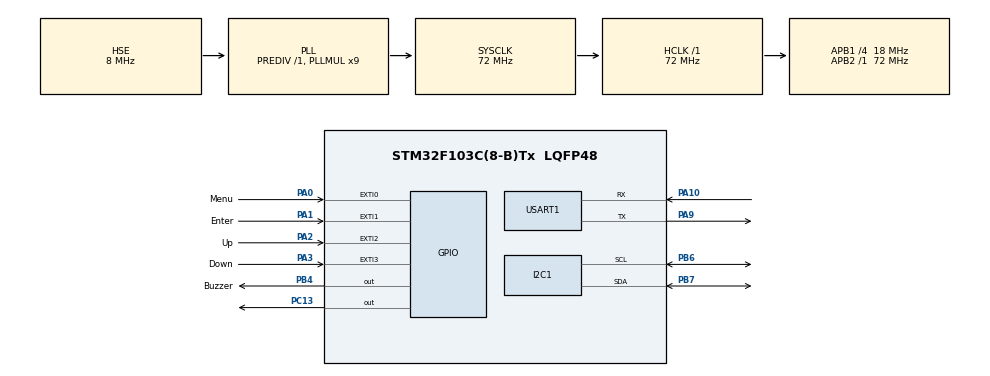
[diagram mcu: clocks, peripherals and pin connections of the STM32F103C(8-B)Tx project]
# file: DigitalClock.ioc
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Mcu.Family=STM32F1
Mcu.Name=STM32F103C(8-B)Tx
Mcu.Package=LQFP48
NVIC.EXTI0_IRQn=true\:3\:0\:true\:false\:true\:true\:true
NVIC.EXTI1_IRQn=true\:2\:0\:true\:false\:true\:true\:true
NVIC.EXTI2_IRQn=true\:1\:0\:true\:false\:true\:true\:true
NVIC.EXTI3_IRQn=true\:1\:0\:true\:false\:true\:true\:true
NVIC.PriorityGroup=NVIC_PRIORITYGROUP_4
NVIC.TIM2_IRQn=true\:4\:0\:true\:false\:true\:true\:true
NVIC.USART1_IRQn=true\:0\:0\:false\:false\:true\:true\:true
PA0-WKUP.GPIO_Label=Menu
PA0-WKUP.GPIO_ModeDefaultEXTI=GPIO_MODE_IT_FALLING
PA0-WKUP.GPIO_PuPd=GPIO_PULLUP
PA0-WKUP.Signal=GPXTI0
PA1.GPIO_Label=Enter
PA1.GPIO_ModeDefaultEXTI=GPIO_MODE_IT_FALLING
PA1.GPIO_PuPd=GPIO_PULLUP
PA1.Signal=GPXTI1
PA10.Mode=Asynchronous
PA10.Signal=USART1_RX
PA2.GPIO_Label=Up
PA2.GPIO_ModeDefaultEXTI=GPIO_MODE_IT_FALLING
PA2.GPIO_PuPd=GPIO_PULLUP
PA2.Signal=GPXTI2
PA3.GPIO_Label=Down
PA3.GPIO_ModeDefaultEXTI=GPIO_MODE_IT_FALLING
PA3.GPIO_PuPd=GPIO_PULLUP
PA3.Signal=GPXTI3
PA9.Mode=Asynchronous
PA9.Signal=USART1_TX
PB4.GPIO_Label=Buzzer
PB4.GPIO_PuPd=GPIO_PULLDOWN
PB4.GPIO_Speed=GPIO_SPEED_FREQ_LOW
PB4.PinState=GPIO_PIN_RESET
PB4.Signal=GPIO_Output
PB6.Mode=I2C
PB6.Signal=I2C1_SCL
PB7.Mode=I2C
PB7.Signal=I2C1_SDA
PC13-TAMPER-RTC.Signal=GPIO_Output
PD0-OSC_IN.Mode=HSE-External-Oscillator
PD0-OSC_IN.Signal=RCC_OSC_IN
PD1-OSC_OUT.Mode=HSE-External-Oscillator
PD1-OSC_OUT.Signal=RCC_OSC_OUT
ProjectManager.HeapSize=0x200
ProjectManager.StackSize=0x400
ProjectManager.TargetToolchain=MDK-ARM V5
RCC.AHBFreq_Value=72000000
RCC.APB1CLKDivider=RCC_HCLK_DIV4
RCC.APB1Freq_Value=18000000
RCC.APB1TimFreq_Value=36000000
RCC.APB2Freq_Value=72000000
RCC.APB2TimFreq_Value=72000000
RCC.HCLKFreq_Value=72000000
RCC.PLLMUL=RCC_PLL_MUL9
RCC.PLLSourceVirtual=RCC_PLLSOURCE_HSE
RCC.SYSCLKFreq_VALUE=72000000
RCC.SYSCLKSource=RCC_SYSCLKSOURCE_PLLCLK
RCC.USBFreq_Value=72000000
TIM2.AutoReloadPreload=TIM_AUTORELOAD_PRELOAD_ENABLE
TIM2.Period=999
TIM2.Prescaler=36000-1
USART1.VirtualMode=VM_ASYNC
VP_SYS_VS_ND.Mode=No_Debug
VP_TIM2_VS_ClockSourceINT.Mode=Internal
board=custom

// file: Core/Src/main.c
/* USER CODE BEGIN Header */
/**
  ******************************************************************************
  * @file           : main.c
  * @brief          : Main program body
  ******************************************************************************
  * @attention
  *
  * <h2><center>&copy; Copyright (c) 2020 STMicroelectronics.
  * All rights reserved.</center></h2>
  *
  * This software component is licensed by ST under BSD 3-Clause license,
  * the "License"; You may not use this file except in compliance with the
  * License. You may obtain a copy of the License at:
  *                        opensource.org/licenses/BSD-3-Clause
  *
  ******************************************************************************
  */
/* USER CODE END Header */
#include "main.h"

/* USER CODE BEGIN Includes */
#include "CLCD_I2C.h"
#include "DS3231.h"
/* USER CODE END Includes */

/* USER CODE BEGIN PTD */
enum
{
	ModeIdle = 0,
	ModeSetAlarm,
	ModeSetTime,
	ModeChangeDisplay,
	ModeAlarm,
	ModeAdjustAlarm,
	ModeAdjustTime
}ModeEnum;
uint8_t Mode = ModeIdle;

enum
{
	Mode24h = 0,
	Mode12h
}ModeDisplayEnum;
uint8_t ModeDisplay = Mode24h;

enum
{
	AdjustHour = 0,
	AdjustMin,
	AdjustSec,
	AdjustDate,
	AdjustMonth,
	AdjustYear,
}AdjustEnum;
uint8_t Adjust = -1;

uint8_t alarm_flag = 0;// flag check status alarm

uint8_t AlarmHours;
uint8_t AlarmMin;
uint8_t AlarmDate;

uint8_t device;
DS3231_Name DS3231;
CLCD_I2C_Name LCD1;

/* USER CODE END PTD */

I2C_HandleTypeDef hi2c1;

TIM_HandleTypeDef htim2;

UART_HandleTypeDef huart1;

void SystemClock_Config(void);
static void MX_GPIO_Init(void);
static void MX_TIM2_Init(void);
static void MX_I2C1_Init(void);
static void MX_USART1_UART_Init(void);
/* USER CODE BEGIN PFP */
void MonthPrint(uint8_t Month, char bufferm [16])
{
	switch (Month){
		case (1):
			sprintf(bufferm, "January");
		break;
		case (2):
			sprintf(bufferm, "Febnuary");
		break;
	  case (3):
			sprintf(bufferm, "March");
		break;
	  case (4):
			sprintf(bufferm, "April");
		break;
	  case (5):
			sprintf(bufferm, "May");
		break;
	  case (6):
			sprintf(bufferm, "June");
		break;
	  case (7):
			sprintf(bufferm, "July");
		break;
	  case (8):
			sprintf(bufferm, "August");
		break;
	  case (9):
			sprintf(bufferm, "September");
		break;
	  case (10):
			sprintf(bufferm, "October");
		break;
	  case (11):
			sprintf(bufferm, "November");
		break;
	  case (12):
			sprintf(bufferm, "December");
		break;
	}
}

void Display_SetAlarm()
{
	CLCD_I2C_Clear(&LCD1);
	CLCD_I2C_SetCursor(&LCD1, 0, 0);
	CLCD_I2C_WriteString(&LCD1,"Set Alarm");
}

void Display_SetTime()
{
	CLCD_I2C_Clear(&LCD1);
	CLCD_I2C_SetCursor(&LCD1, 0, 0);
	CLCD_I2C_WriteString(&LCD1,"Set Time");
}

void Display_Time()
{
	char buffer[16];
	switch(ModeDisplay){
		case(Mode24h):
			DS3231_GetTime(&DS3231);
		sprintf(buffer, "%02d:%02d:%02d", DS3231.Hours, DS3231.Min, DS3231.Sec);
		CLCD_I2C_SetCursor(&LCD1, 0, 0);
		CLCD_I2C_WriteString(&LCD1, buffer);
		break;
		case(Mode12h):
			DS3231_GetTime(&DS3231);
		if(DS3231.Hours < 12){
			sprintf(buffer, "%02d:%02d:%02d AM", DS3231.Hours, DS3231.Min, DS3231.Sec);
		}
		else if(DS3231.Hours == 12){
			sprintf(buffer, "%02d:%02d:%02d PM", DS3231.Hours, DS3231.Min, DS3231.Sec);
		}
		else if(DS3231.Hours > 12){
			sprintf(buffer, "%02d:%02d:%02d PM", DS3231.Hours - 12, DS3231.Min, DS3231.Sec);
		}
		else if(DS3231.Hours == 24){
			sprintf(buffer, "%02d:%02d:%02d AM", DS3231.Hours - 12, DS3231.Min, DS3231.Sec);
		}
	CLCD_I2C_SetCursor(&LCD1, 0, 0);
	CLCD_I2C_WriteString(&LCD1, buffer);
	}
}

void Display_Date()
{
	char buffer[16], bufferm[16];
	DS3231_GetDate(&DS3231);
	MonthPrint(DS3231.Month, bufferm);
	sprintf(buffer, "%02d,%s,20%02d", DS3231.Date, bufferm, DS3231.Year);
	CLCD_I2C_SetCursor(&LCD1, 0, 1);
	CLCD_I2C_WriteString(&LCD1, buffer);
}

void Display_Temp()
{
	char buffer[16];
	uint8_t Temp;
	Temp = (int)DS3231_GetTemp(&DS3231);
	CLCD_I2C_SetCursor(&LCD1, 12, 0);
	sprintf(buffer, "%02d", Temp);
	CLCD_I2C_WriteString(&LCD1, buffer);
  CLCD_I2C_WriteChar(&LCD1, 223);
	CLCD_I2C_WriteChar(&LCD1, 67);
}

void Display_AlarmMode()
{
	char buffer[16];
	CLCD_I2C_SetCursor(&LCD1,0,0);
	sprintf(buffer, "Time %02d:%02d", AlarmHours, AlarmMin);
	CLCD_I2C_WriteString(&LCD1, buffer);
	CLCD_I2C_SetCursor(&LCD1,0,1);
	sprintf(buffer, "Date %02d", AlarmDate);
	CLCD_I2C_WriteString(&LCD1, buffer);
}

void Display_TimeMode()
{
	char buffer[16];
	CLCD_I2C_SetCursor(&LCD1,0,0);
	sprintf(buffer, "Time %02d:%02d:%02d", DS3231.Hours, DS3231.Min, DS3231.Sec);
	CLCD_I2C_WriteString(&LCD1, buffer);
	CLCD_I2C_SetCursor(&LCD1,0,1);
	sprintf(buffer, "Date %02d-%02d-%02d", DS3231.Date, DS3231.Month, DS3231.Year);
	CLCD_I2C_WriteString(&LCD1, buffer);
}

void Display_ChangeDisplay()
{
	CLCD_I2C_Clear(&LCD1);
	CLCD_I2C_SetCursor(&LCD1, 0, 0);
	CLCD_I2C_WriteString(&LCD1,"Change Display");
}

void Display_Adjust()
{
	switch(Adjust)
	{
		case AdjustHour:
			CLCD_I2C_SetCursor(&LCD1, 5, 0);
			break;
		case AdjustMin:
			CLCD_I2C_SetCursor(&LCD1, 8, 0);
			break;
		case AdjustSec:
			CLCD_I2C_SetCursor(&LCD1, 11, 0);
			break;
		case AdjustDate:
			CLCD_I2C_SetCursor(&LCD1, 5, 1);
			break;
			case AdjustMonth:
			CLCD_I2C_SetCursor(&LCD1, 8, 1);
			break;
		case AdjustYear:
			CLCD_I2C_SetCursor(&LCD1, 11, 1);
			break;
	}
}

void Display_Alarm()
{
	char buffer[16];
	CLCD_I2C_SetCursor(&LCD1,5,0);
	CLCD_I2C_WriteString(&LCD1, "Alarm");
	CLCD_I2C_SetCursor(&LCD1,5,1);
	sprintf(buffer, "%02d:%02d", DS3231.Hours, DS3231.Min);
	CLCD_I2C_WriteString(&LCD1, buffer);
}

void HAL_GPIO_EXTI_Callback(uint16_t GPIO_Pin)
{
  /* Prevent unused argument(s) compilation warning */
  UNUSED(GPIO_Pin);

	if(GPIO_Pin == Menu_Pin)
	{
		switch(Mode)
		{
			case ModeIdle:
		    Mode = ModeSetAlarm;
			  Display_SetAlarm();
			break;
			case ModeSetAlarm:
			  Mode = ModeSetTime;
				Display_SetTime();
			break;
			case ModeSetTime:
				Mode = ModeChangeDisplay;
			  Display_ChangeDisplay();
			break;
			case ModeChangeDisplay:
				Mode = ModeIdle;
			CLCD_I2C_Clear(&LCD1);
			break;
			case ModeAdjustAlarm:
				CLCD_I2C_BlinkOff(&LCD1);
					Mode = ModeIdle;
			CLCD_I2C_Clear(&LCD1);
			break;
			case ModeAdjustTime:
			CLCD_I2C_BlinkOff(&LCD1);
			DS3231_SetTime(&DS3231, DS3231.Hours, DS3231.Min, DS3231.Sec);
			DS3231_SetDate(&DS3231, DS3231.Day, DS3231.Date, DS3231.Month, DS3231.Year);
				Mode = ModeIdle;
			CLCD_I2C_Clear(&LCD1);
			Display_Time();
			Display_Temp();
			Display_Date();
			break;
		}
	}
	if(GPIO_Pin == Enter_Pin)
	{
		switch(Mode)
		{
			case ModeSetAlarm:
			Mode = ModeAdjustAlarm;
			CLCD_I2C_Clear(&LCD1);
			Display_AlarmMode();
			Adjust = AdjustHour;
	    CLCD_I2C_BlinkOn(&LCD1);
			Display_Adjust();
			break;
			case ModeSetTime:
			Mode = ModeAdjustTime;
			CLCD_I2C_Clear(&LCD1);
			Display_TimeMode();
			Adjust = AdjustHour;
	    CLCD_I2C_BlinkOn(&LCD1);
			Display_Adjust();
			break;
			case ModeChangeDisplay:
			if (ModeDisplay == Mode24h)
				ModeDisplay = Mode12h;
			else
				ModeDisplay = Mode24h;
			Mode = ModeIdle;
			CLCD_I2C_Clear(&LCD1);
			break;
			case ModeAdjustAlarm:
			switch(Adjust)
			{
				case AdjustHour:
					Adjust = AdjustMin;
				break;
				case AdjustMin:
					Adjust = AdjustDate;
				break;
				case AdjustDate:
					Adjust = AdjustHour;
				break;
			}
			Display_Adjust();
			break;
			case ModeAdjustTime:
			if (Adjust == AdjustYear)
			Adjust = -1;
			Adjust++;
			Display_Adjust();
			break;
			case ModeAlarm:
				alarm_flag = 1;
			break;
		}
	}
	if(GPIO_Pin == Up_Pin)
	{
		if(Mode == ModeAdjustAlarm){
		switch(Adjust)
		{
			case AdjustHour:
				if(AlarmHours < 23)
					AlarmHours += 1;
				else AlarmHours = 0;

			Display_AlarmMode();
			Adjust = AdjustHour;
			Display_Adjust();
			break;

			case AdjustMin:
				if(AlarmMin < 59)
					AlarmMin += 1;
				else AlarmMin = 0;

			Display_AlarmMode();
			Adjust = AdjustMin;
			Display_Adjust();
			break;

			case AdjustDate:
				if(AlarmDate < 31)
					AlarmDate += 1;
				else AlarmDate = 1;

			Display_AlarmMode();
			Adjust = AdjustDate;
			Display_Adjust();
			break;
		}
	}
		if(Mode == ModeAdjustTime){
		switch(Adjust)
		{
			case AdjustHour:
				if(DS3231.Hours < 23)
					DS3231.Hours += 1;
				else DS3231.Hours = 0;

				Display_TimeMode();
			  Adjust = AdjustHour;
				Display_Adjust();
				break;

			case AdjustMin:
				if(DS3231.Min < 59)
					DS3231.Min += 1;
				else DS3231.Min = 0;

				Display_TimeMode();
				Adjust = AdjustMin;
				Display_Adjust();
				break;

			case AdjustSec:
				if(DS3231.Sec < 59)
					DS3231.Sec += 1;
				else DS3231.Sec = 0;

			Display_TimeMode();
			Adjust = AdjustSec;
				Display_Adjust();
				break;

			case AdjustYear:
			if (DS3231.Year < 99)
			DS3231.Year += 1;
			else
			DS3231.Year = 0;

			Display_TimeMode();
			Adjust = AdjustYear;
				Display_Adjust();
				break;

			case AdjustMonth:
				if(DS3231.Month < 12)
					DS3231.Month += 1;
				else DS3231.Month = 1;

			Display_TimeMode();
			Adjust = AdjustMonth;
				Display_Adjust();
				break;

			case AdjustDate:
				if(DS3231.Date < 31)
					DS3231.Date += 1;
				else DS3231.Date = 1;

		  Display_TimeMode();
			Adjust = AdjustDate;
				Display_Adjust();
				break;
		}
	}
}
	if(GPIO_Pin == Down_Pin)
	{
		if(Mode == ModeAdjustAlarm){
		switch(Adjust)
		{
			case AdjustHour:
				if(AlarmHours > 0)
					AlarmHours -= 1;
				else AlarmHours = 23;

			Display_AlarmMode();
			Adjust = AdjustHour;
				Display_Adjust();
				break;

			case AdjustMin:
				if(AlarmMin > 0)
					AlarmMin -= 1;
				else AlarmMin = 59;

			Display_AlarmMode();
			Adjust = AdjustMin;
				Display_Adjust();
				break;

			case AdjustDate:
				if(AlarmDate > 1)
					AlarmDate -= 1;
				else AlarmDate = 31;

			Display_AlarmMode();
			Adjust = AdjustDate;
				Display_Adjust();
				break;
		}
	}
		if(Mode == ModeAdjustTime){
		switch(Adjust)
		{
			case AdjustHour:
				if( DS3231.Hours > 0)
					DS3231.Hours -= 1;
				else DS3231.Hours = 23;

			Display_TimeMode();
			Adjust = AdjustHour;
				Display_Adjust();
				break;

			case AdjustMin:
				if(DS3231.Min > 0)
					DS3231.Min -= 1;
				else DS3231.Min = 59;

			Display_TimeMode();
			Adjust = AdjustMin;
				Display_Adjust();
				break;

			case AdjustSec:
				if(DS3231.Sec > 0)
					DS3231.Sec -= 1;
				else DS3231.Sec = 59;

			Display_TimeMode();
			Adjust = AdjustSec;
				Display_Adjust();
				break;

			case AdjustYear:
			if(DS3231.Year > 0)
			DS3231.Year -= 1;
			else
				DS3231.Year = 99;

			Display_TimeMode();
			Adjust = AdjustYear;
				Display_Adjust();
				break;

			case AdjustMonth:
				if(DS3231.Month > 1)
					DS3231.Month -= 1;
				else DS3231.Month = 12;

			Display_TimeMode();
			Adjust = AdjustMonth;
				Display_Adjust();
				break;

			case AdjustDate:
				if(DS3231.Date > 1)
					DS3231.Date -= 1;
				else DS3231.Date = 31;

			Display_TimeMode();
			Adjust = AdjustDate;
				Display_Adjust();
				break;
			}
		}
	}
}
void AlarmTone(uint32_t Delay)
{
  uint32_t tickstart = HAL_GetTick();
  uint32_t wait = Delay;

  if (wait < HAL_MAX_DELAY)
  {
    wait += (uint32_t)(uwTickFreq);
  }

  while ((HAL_GetTick() - tickstart) < wait)
  {
		if(alarm_flag){
			alarm_flag = 0;
			break;
		}
		HAL_GPIO_WritePin(Buzzer_GPIO_Port, Buzzer_Pin, 1);
		HAL_Delay(150);
		HAL_GPIO_WritePin(Buzzer_GPIO_Port, Buzzer_Pin, 0);
		HAL_Delay(70);
		HAL_GPIO_WritePin(Buzzer_GPIO_Port, Buzzer_Pin, 1);
		HAL_Delay(150);
		HAL_GPIO_WritePin(Buzzer_GPIO_Port, Buzzer_Pin, 0);
		HAL_Delay(500);
  }
}
void HAL_TIM_PeriodElapsedCallback(TIM_HandleTypeDef *htim)/*Ham timer ngat*/
{
  UNUSED(htim);
	if(Mode == ModeIdle)
	{
		Display_Time();
		Display_Temp();
		Display_Date();
		if (DS3231.Hours == AlarmHours && DS3231.Min == AlarmMin && DS3231.Sec == 0 && DS3231.Date == AlarmDate)
			{
			  Mode = ModeAlarm;
				CLCD_I2C_Clear(&LCD1);
				Display_Alarm();
				AlarmTone(5000);
			  Mode = ModeIdle;
				CLCD_I2C_Clear(&LCD1);
			}
	}
}

/* USER CODE END PFP */

int main(void)
{
	__disable_irq();

  /* MCU Configuration--------------------------------------------------------*/

  /* Reset of all peripherals, Initializes the Flash interface and the Systick. */
  HAL_Init();

  /* Configure the system clock */
  SystemClock_Config();

  /* Initialize all configured peripherals */
  MX_GPIO_Init();
  MX_TIM2_Init();
  MX_I2C1_Init();
  MX_USART1_UART_Init();
  /* USER CODE BEGIN 2 */

	for(int i = 0; i<255; i++)
	{
		if(HAL_I2C_IsDeviceReady(&hi2c1,i,1,100) == HAL_OK)
		{
			device = i;
		}
	}

	DS3231_Init(&DS3231, &hi2c1);
	CLCD_I2C_Init(&LCD1,&hi2c1,0x4E,16,2);
	__enable_irq();
	HAL_TIM_Base_Start_IT(&htim2);

  /* USER CODE END 2 */

  /* Infinite loop */
  while (1)
  {

  }
}

void SystemClock_Config(void)
{
  RCC_OscInitTypeDef RCC_OscInitStruct = {0};
  RCC_ClkInitTypeDef RCC_ClkInitStruct = {0};

  /** Initializes the RCC Oscillators according to the specified parameters
  * in the RCC_OscInitTypeDef structure.
  */
  RCC_OscInitStruct.OscillatorType = RCC_OSCILLATORTYPE_HSE;
  RCC_OscInitStruct.HSEState = RCC_HSE_ON;
  RCC_OscInitStruct.HSEPredivValue = RCC_HSE_PREDIV_DIV1;
  RCC_OscInitStruct.HSIState = RCC_HSI_ON;
  RCC_OscInitStruct.PLL.PLLState = RCC_PLL_ON;
  RCC_OscInitStruct.PLL.PLLSource = RCC_PLLSOURCE_HSE;
  RCC_OscInitStruct.PLL.PLLMUL = RCC_PLL_MUL9;
  if (HAL_RCC_OscConfig(&RCC_OscInitStruct) != HAL_OK)
  {
    Error_Handler();
  }
  /** Initializes the CPU, AHB and APB buses clocks
  */
  RCC_ClkInitStruct.ClockType = RCC_CLOCKTYPE_HCLK|RCC_CLOCKTYPE_SYSCLK
                              |RCC_CLOCKTYPE_PCLK1|RCC_CLOCKTYPE_PCLK2;
  RCC_ClkInitStruct.SYSCLKSource = RCC_SYSCLKSOURCE_PLLCLK;
  RCC_ClkInitStruct.AHBCLKDivider = RCC_SYSCLK_DIV1;
  RCC_ClkInitStruct.APB1CLKDivider = RCC_HCLK_DIV4;
  RCC_ClkInitStruct.APB2CLKDivider = RCC_HCLK_DIV1;

  if (HAL_RCC_ClockConfig(&RCC_ClkInitStruct, FLASH_LATENCY_2) != HAL_OK)
  {
    Error_Handler();
  }
}

static void MX_I2C1_Init(void)
{

  hi2c1.Instance = I2C1;
  hi2c1.Init.ClockSpeed = 100000;
  hi2c1.Init.DutyCycle = I2C_DUTYCYCLE_2;
  hi2c1.Init.OwnAddress1 = 0;
  hi2c1.Init.AddressingMode = I2C_ADDRESSINGMODE_7BIT;
  hi2c1.Init.DualAddressMode = I2C_DUALADDRESS_DISABLE;
  hi2c1.Init.OwnAddress2 = 0;
  hi2c1.Init.GeneralCallMode = I2C_GENERALCALL_DISABLE;
  hi2c1.Init.NoStretchMode = I2C_NOSTRETCH_DISABLE;
  if (HAL_I2C_Init(&hi2c1) != HAL_OK)
  {
    Error_Handler();
  }

}

static void MX_TIM2_Init(void)
{

  TIM_ClockConfigTypeDef sClockSourceConfig = {0};
  TIM_MasterConfigTypeDef sMasterConfig = {0};

  htim2.Instance = TIM2;
  htim2.Init.Prescaler = 36000-1;
  htim2.Init.CounterMode = TIM_COUNTERMODE_UP;
  htim2.Init.Period = 999;
  htim2.Init.ClockDivision = TIM_CLOCKDIVISION_DIV1;
  htim2.Init.AutoReloadPreload = TIM_AUTORELOAD_PRELOAD_ENABLE;
  if (HAL_TIM_Base_Init(&htim2) != HAL_OK)
  {
    Error_Handler();
  }
  sClockSourceConfig.ClockSource = TIM_CLOCKSOURCE_INTERNAL;
  if (HAL_TIM_ConfigClockSource(&htim2, &sClockSourceConfig) != HAL_OK)
  {
    Error_Handler();
  }
  sMasterConfig.MasterOutputTrigger = TIM_TRGO_RESET;
  sMasterConfig.MasterSlaveMode = TIM_MASTERSLAVEMODE_DISABLE;
  if (HAL_TIMEx_MasterConfigSynchronization(&htim2, &sMasterConfig) != HAL_OK)
  {
    Error_Handler();
  }

}

static void MX_USART1_UART_Init(void)
{

  huart1.Instance = USART1;
  huart1.Init.BaudRate = 115200;
  huart1.Init.WordLength = UART_WORDLENGTH_8B;
  huart1.Init.StopBits = UART_STOPBITS_1;
  huart1.Init.Parity = UART_PARITY_NONE;
  huart1.Init.Mode = UART_MODE_TX_RX;
  huart1.Init.HwFlowCtl = UART_HWCONTROL_NONE;
  huart1.Init.OverSampling = UART_OVERSAMPLING_16;
  if (HAL_UART_Init(&huart1) != HAL_OK)
  {
    Error_Handler();
  }

}

static void MX_GPIO_Init(void)
{
  GPIO_InitTypeDef GPIO_InitStruct = {0};

  /* GPIO Ports Clock Enable */
  __HAL_RCC_GPIOC_CLK_ENABLE();
  __HAL_RCC_GPIOD_CLK_ENABLE();
  __HAL_RCC_GPIOA_CLK_ENABLE();
  __HAL_RCC_GPIOB_CLK_ENABLE();

  /*Configure GPIO pin Output Level */
  HAL_GPIO_WritePin(GPIOC, GPIO_PIN_13, GPIO_PIN_RESET);

  /*Configure GPIO pin Output Level */
  HAL_GPIO_WritePin(Buzzer_GPIO_Port, Buzzer_Pin, GPIO_PIN_RESET);

  /*Configure GPIO pin : PC13 */
  GPIO_InitStruct.Pin = GPIO_PIN_13;
  GPIO_InitStruct.Mode = GPIO_MODE_OUTPUT_PP;
  GPIO_InitStruct.Pull = GPIO_NOPULL;
  GPIO_InitStruct.Speed = GPIO_SPEED_FREQ_LOW;
  HAL_GPIO_Init(GPIOC, &GPIO_InitStruct);

  /*Configure GPIO pins : Menu_Pin Enter_Pin Up_Pin Down_Pin */
  GPIO_InitStruct.Pin = Menu_Pin|Enter_Pin|Up_Pin|Down_Pin;
  GPIO_InitStruct.Mode = GPIO_MODE_IT_FALLING;
  GPIO_InitStruct.Pull = GPIO_PULLUP;
  HAL_GPIO_Init(GPIOA, &GPIO_InitStruct);

  /*Configure GPIO pin : Buzzer_Pin */
  GPIO_InitStruct.Pin = Buzzer_Pin;
  GPIO_InitStruct.Mode = GPIO_MODE_OUTPUT_PP;
  GPIO_InitStruct.Pull = GPIO_PULLDOWN;
  GPIO_InitStruct.Speed = GPIO_SPEED_FREQ_LOW;
  HAL_GPIO_Init(Buzzer_GPIO_Port, &GPIO_InitStruct);

  /* EXTI interrupt init*/
  HAL_NVIC_SetPriority(EXTI0_IRQn, 3, 0);
  HAL_NVIC_EnableIRQ(EXTI0_IRQn);

  HAL_NVIC_SetPriority(EXTI1_IRQn, 2, 0);
  HAL_NVIC_EnableIRQ(EXTI1_IRQn);

  HAL_NVIC_SetPriority(EXTI2_IRQn, 1, 0);
  HAL_NVIC_EnableIRQ(EXTI2_IRQn);

  HAL_NVIC_SetPriority(EXTI3_IRQn, 1, 0);
  HAL_NVIC_EnableIRQ(EXTI3_IRQn);

}

void Error_Handler(void)
{
}

/************************ (C) COPYRIGHT STMicroelectronics *****END OF FILE****/
